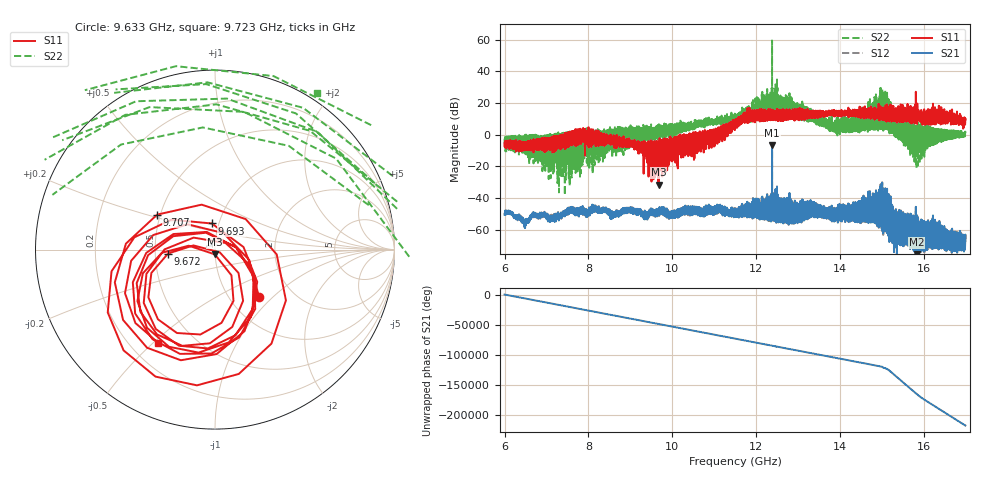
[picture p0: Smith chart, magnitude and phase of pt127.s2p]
#  HZ  S  RI  R  50.00
! Rohde & Schwarz Vector Network Analyzer
! Rohde-Schwarz,ZNA67-2Port,1332450062101215,3.01
! Created: UTC 10/19/2026, 5:22:23 PM
! freq[Hz]  re:S11  im:S11  re:S21  im:S21  re:S12  im:S12  re:S22  im:S22
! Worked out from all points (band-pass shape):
!   11001 points, 6 GHz to 17 GHz, reference 50 ohm
!   highest |S21| = -6.68 dB at 12.38 GHz (marker M1); lowest = -78.3 dB at 15.83 GHz (marker M2)
!   |S21| within 3 dB of the highest: 12.38493 GHz to 12.38507 GHz (142.6 kHz wide, 0.00115 % of centre)
!   lowest |S11| = -31.5 dB at 9.681 GHz (marker M3), VSWR 1.05, Z = 49.8 - j2.66 ohm
!   |S11| at or under -10 dB: 9.386589 GHz to 9.391388 GHz (4.8 MHz wide, 0.0511 % of centre); 9.398543 GHz to 9.403118 GHz (4.574 MHz wide, 0.0487 % of centre); 9.410616 GHz to 9.415009 GHz (4.393 MHz wide, 0.0467 % of centre) (the widest 3 of 125)
!   |S22| runs from -38.1 to 59.6 dB; largest |S21 - S12| = 0.015
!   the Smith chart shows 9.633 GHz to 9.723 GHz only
!   S11 on the Smith chart (normalised r, x): 9.633 GHz: 1.37, -0.82; 9.672 GHz: 0.58, -0.03; 9.693 GHz: 0.93, +0.28; 9.707 GHz: 0.48, +0.22; 9.723 GHz: 0.32, -0.52
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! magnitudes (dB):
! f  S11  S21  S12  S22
! 6 GHz  -5.3  -50.6  -50.7  -2.5
! 6.505 GHz  -8.4  -53.7  -53.5  -8.9
! 6.686 GHz  -4.2  -50.6  -50.8  -0.5
! 7.089 GHz  -5.9  -52.8  -52.3  -7.8
! 7.834 GHz  -4.0  -48.8  -48.8  -15.8
! 9.633 GHz  -8.9  -50.5  -50.6  1.4
! 9.667 GHz  -7.1  -50.2  -50.5  -2.1
! 9.672 GHz  -11.6  -47.6  -48.1  3.9
! 9.681 GHz  -31.5  -48.4  -48.7  4.5
! 9.693 GHz  -16.7  -48.7  -49.1  3.8
! 9.707 GHz  -8.5  -46.3  -46.4  5.7
! 9.723 GHz  -4.3  -49.7  -49.8  0.4
! 11.04 GHz  3.9  -47.3  -47.6  8.1
! 11.5 GHz  4.1  -51.3  -50.9  9.3
! 11.8 GHz  7.6  -50.4  -50.6  13.0
! 12.38 GHz  10.1  -6.7  -6.4  59.6
! 13.33 GHz  11.7  -49.6  -49.6  10.2
! 13.96 GHz  14.5  -46.7  -46.8  8.8
! 14.81 GHz  12.2  -54.2  -54.1  4.3
! 15.17 GHz  10.8  -60.8  -61.3  3.2
! 15.83 GHz  10.2  -78.3  -78.5  -21.1
! 17 GHz  9.7  -67.0  -66.3  1.4
